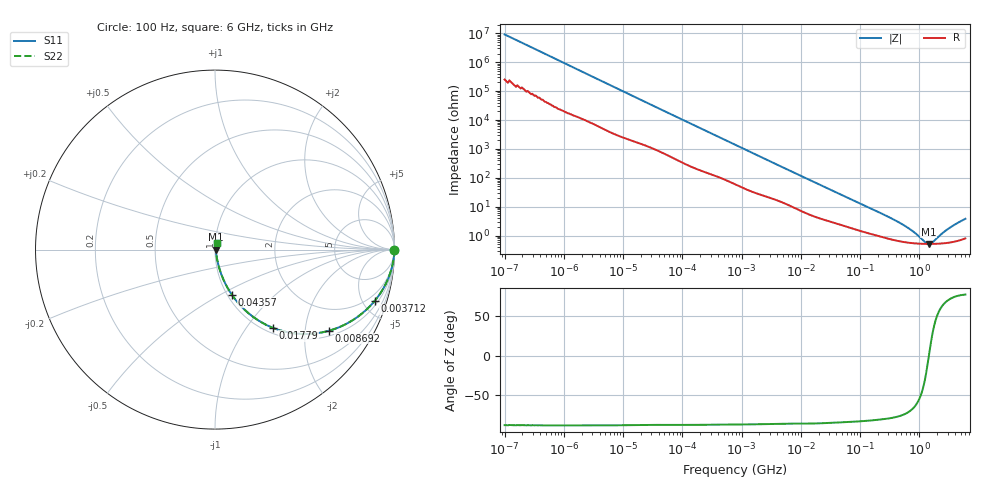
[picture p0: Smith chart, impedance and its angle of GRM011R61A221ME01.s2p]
!Murata Part Number: GRM011R61A221ME01
!These Parameters are Measured in Series Mode Connection
!Data Generated on Mar 30, 2021
!  o--ll--o
!Port1  Port2
!  o------o
!Operation Temp=25[degC], DC Bias Voltage=0[V]
!Freq. Start=100[Hz] Stop=6[GHz] 401[Steps]
# Hz S RI R 50
!Freq.(Hz) S11(Real) S11(Imag) S21(Real) S21(Imag) S12(Real) S12(Imag) S22(Real) S22(Imag)
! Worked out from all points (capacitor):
!   401 points, 100 Hz to 6 GHz, reference 50 ohm
!   read as one part in series: C = 173 pF near 109 Hz
!   lowest |Z| = 512 mohm at 1.432 GHz (marker M1)
!   series resonance near 1.452 GHz, so ESL is about 70 pH
!   S11 on the Smith chart (normalised r, x): 100 Hz: open; 3.712 MHz: 1.35, -6.06; 8.692 MHz: 1.16, -2.68; 17.79 MHz: 1.09, -1.34; 43.57 MHz: 1.05, -0.57; 6 GHz: 1.02, +0.07
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100  1 -1.09e-05  3e-07 1.09e-05  3e-07 1.09e-05  1 -1.09e-05
897  1 -9.45e-05  2e-06 9.45e-05  2e-06 9.45e-05  1 -9.45e-05
2008  1 -0.000209  4.9e-06 0.000209  4.9e-06 0.000209  1 -0.000209
40335  0.9999 -0.004  0.000149 0.004  0.000149 0.004  0.9999 -0.004
774597  0.9919 -0.071  0.00813 0.071  0.00813 0.071  0.9919 -0.071
1983483  0.961 -0.1711  0.039 0.1711  0.039 0.1711  0.961 -0.1711
3712478  0.8889 -0.2869  0.1111 0.2869  0.1111 0.2869  0.8889 -0.2869
5809218  0.7826 -0.3832  0.2174 0.3832  0.2174 0.3832  0.7826 -0.3832
8692127  0.6356 -0.4518  0.3644 0.4518  0.3644 0.4518  0.6356 -0.4518
1.555665e7  0.3764 -0.4538  0.6236 0.4538  0.6236 0.4538  0.3764 -0.4538
1.779312e7  0.3213 -0.4355  0.6787 0.4355  0.6787 0.4355  0.3213 -0.4355
2.784235e7  0.1771 -0.3462  0.8229 0.3462  0.8229 0.3462  0.1771 -0.3462
4.35672e7  0.0932 -0.2504  0.9068 0.2504  0.9068 0.2504  0.0932 -0.2504
1.066761e8  0.0274 -0.1155  0.9726 0.1155  0.9726 0.1155  0.0274 -0.1155
3.124326e8  0.00925 -0.0413  0.9908 0.0413  0.9908 0.0413  0.00925 -0.0413
6.688484e8  0.00584 -0.0164  0.9942 0.0164  0.9942 0.0164  0.00584 -0.0164
1.251881e9  0.00511 -0.00289  0.9949 0.00289  0.9949 0.00289  0.00511 -0.00289
1.431855e9  0.00509 -0.000271  0.9949 0.000271  0.9949 0.000271  0.00509 -0.000271
1.712697e9  0.00511 0.00322  0.9949 -0.00322  0.9949 -0.00322  0.00511 0.00322
2.450438e9  0.0054 0.0106  0.9946 -0.0106  0.9946 -0.0106  0.0054 0.0106
3.352442e9  0.00604 0.0181  0.994 -0.0181  0.994 -0.0181  0.00604 0.0181
6e9  0.00924 0.0365  0.9908 -0.0365  0.9908 -0.0365  0.00924 0.0365
